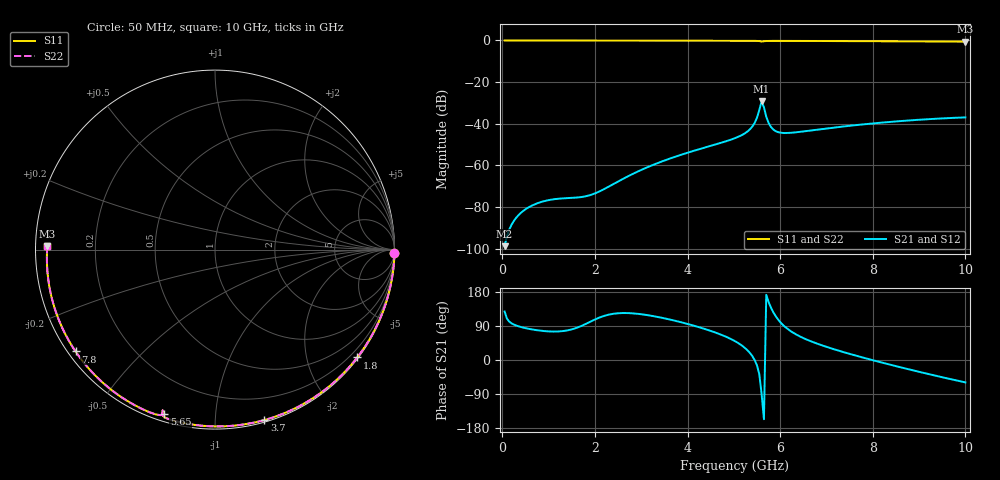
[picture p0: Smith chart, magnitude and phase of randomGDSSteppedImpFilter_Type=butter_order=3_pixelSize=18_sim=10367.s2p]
! freq	dB(S11)	phase(S11)	dB(S12)	phase(S12)
!  dB(S21)	phase(S21)	dB(S22)	phase(S22)
!S-par simulation data
#  GHz  S  DB  R 50
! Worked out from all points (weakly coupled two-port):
!   200 points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, 50 MHz to 10 GHz, reference 50 ohm
!   highest |S21| = -29.24 dB at 5.6 GHz (marker M1); lowest = -98.9 dB at 50 MHz (marker M2)
!   lowest |S11| = -0.6 dB at 10 GHz (marker M3), VSWR 29.54, Z = 1.69 + j0.489 ohm
!   |S11| at or under -10 dB: nowhere
!   |S22| runs from -0.6 to 0.0 dB; largest |S21 - S12| = 0
!   S11 on the Smith chart (normalised r, x): 50 MHz: open; 1.8 GHz: 0.03, -2.97; 3.7 GHz: 0.02, -1.33; 5.65 GHz: 0.03, -0.74; 7.8 GHz: 0.02, -0.33; 10 GHz: 0.03, +0.01
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0.05  -0.00 -1.1  -98.88 128.0  -98.88 128.0  -0.00 -1.1
0.55  -0.01 -11.6  -80.45 82.8  -80.45 82.8  -0.01 -11.6
1.05  -0.03 -21.9  -76.55 75.2  -76.55 75.2  -0.03 -21.9
1.75  -0.05 -36.2  -75.12 92.1  -75.12 92.1  -0.05 -36.2
1.8  -0.05 -37.2  -74.91 95.0  -74.91 95.0  -0.05 -37.2
2.1  -0.05 -43.2  -72.55 112.1  -72.55 112.1  -0.06 -43.2
3.4  -0.09 -68.3  -58.55 112.6  -58.55 112.6  -0.09 -68.3
3.7  -0.10 -73.9  -56.14 104.5  -56.14 104.5  -0.10 -73.9
5.05  -0.15 -98.2  -46.73 48.0  -46.73 48.0  -0.15 -98.2
5.25  -0.16 -101.7  -44.47 30.7  -44.47 30.7  -0.16 -101.7
5.4  -0.18 -104.5  -41.35 10.0  -41.35 10.0  -0.18 -104.5
5.5  -0.21 -106.6  -37.11 -14.3  -37.11 -14.3  -0.21 -106.6
5.6  -0.52 -108.1  -29.24 -90.4  -29.24 -90.4  -0.52 -108.0
5.65  -0.37 -107.2  -32.15 -156.3  -32.15 -156.3  -0.37 -107.2
5.7  -0.25 -108.3  -36.65 172.1  -36.65 172.1  -0.25 -108.3
5.75  -0.22 -109.4  -39.62 153.1  -39.62 153.1  -0.22 -109.3
5.9  -0.21 -112.2  -43.54 116.4  -43.54 116.4  -0.21 -112.2
6.15  -0.21 -116.5  -44.47 83.1  -44.47 83.1  -0.21 -116.5
6.7  -0.25 -125.7  -43.16 47.7  -43.16 47.7  -0.25 -125.7
7.8  -0.34 -143.9  -40.32 6.0  -40.32 6.0  -0.34 -143.8
8.35  -0.39 -152.9  -39.19 -11.6  -39.19 -11.6  -0.39 -152.9
10  -0.59 178.9  -36.98 -59.1  -36.98 -59.1  -0.59 178.9
